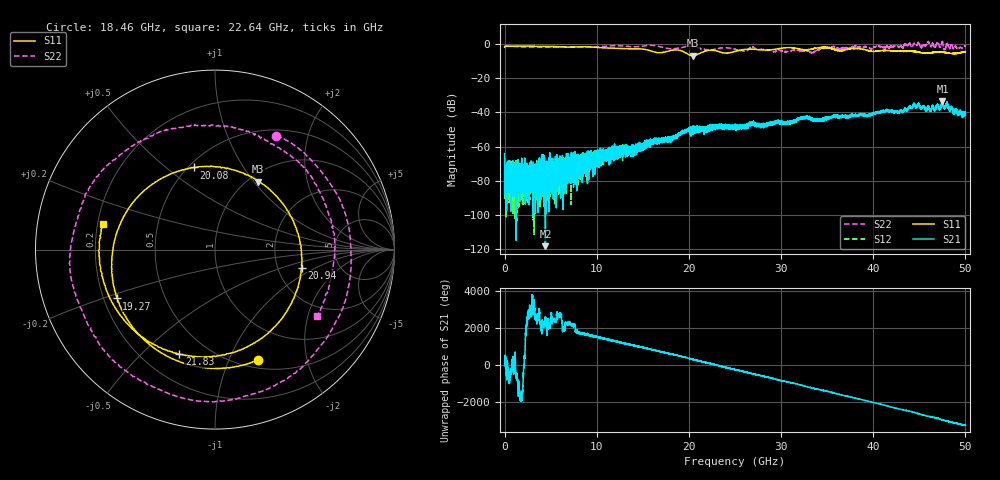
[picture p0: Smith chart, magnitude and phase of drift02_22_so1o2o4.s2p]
!Created with skrf (http://scikit-rf.org).
# Hz S RI R 50.0
!freq ReS11 ImS11 ReS21 ImS21 ReS12 ImS12 ReS22 ImS22
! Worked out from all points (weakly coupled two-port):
!   10001 points, 300 kHz to 50 GHz, reference 50 ohm
!   highest |S21| = -33.34 dB at 47.51 GHz (marker M1); lowest = -118.1 dB at 4.425 GHz (marker M2)
!   lowest |S11| = -6.9 dB at 20.41 GHz (marker M3), VSWR 2.63, Z = 55.5 + j52.7 ohm
!   |S11| at or under -10 dB: nowhere
!   |S22| runs from -5.4 to 1.9 dB; largest |S21 - S12| = 0.0033
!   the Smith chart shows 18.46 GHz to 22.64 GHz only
!   S11 on the Smith chart (normalised r, x): 18.46 GHz: 0.59, -1.28; 19.27 GHz: 0.25, -0.22; 20.08 GHz: 0.53, +0.63; 20.94 GHz: 2.73, -0.73; 21.83 GHz: 0.35, -0.66; 22.64 GHz: 0.22, +0.11
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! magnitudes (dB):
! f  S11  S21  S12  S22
! 300 kHz  -2.1  -64.0  -90.7  -1.3
! 255.3 MHz  -1.4  -80.8  -79.2  -1.4
! 815.3 MHz  -1.5  -70.4  -88.6  -1.5
! 4.425 GHz  -1.6  -118.1  -75.9  -2.0
! 8.335 GHz  -1.7  -71.6  -67.0  -1.9
! 16.67 GHz  -5.2  -57.5  -56.0  -1.5
! 18.46 GHz  -3.6  -54.1  -53.8  -2.8
! 19.27 GHz  -4.3  -51.8  -52.1  -2.1
! 20.08 GHz  -6.5  -49.9  -48.8  -1.5
! 20.41 GHz  -6.9  -49.5  -48.3  -1.8
! 20.94 GHz  -6.1  -49.2  -49.1  -2.2
! 21.83 GHz  -4.2  -50.3  -49.7  -3.5
! 22.64 GHz  -3.9  -47.6  -48.7  -3.4
! 25 GHz  -4.5  -48.0  -49.2  -3.2
! 26.11 GHz  -3.3  -47.5  -48.5  -4.3
! 26.9 GHz  -3.2  -46.5  -45.5  -1.7
! 33.34 GHz  -3.1  -44.3  -43.6  -5.2
! 34.89 GHz  -2.2  -43.8  -43.3  -2.3
! 41.67 GHz  -4.0  -39.7  -39.0  -2.1
! 44.4 GHz  -4.4  -35.3  -35.4  0.2
! 47.51 GHz  -4.9  -33.3  -33.8  1.9
! 50 GHz  -4.8  -40.8  -40.9  -1.5
